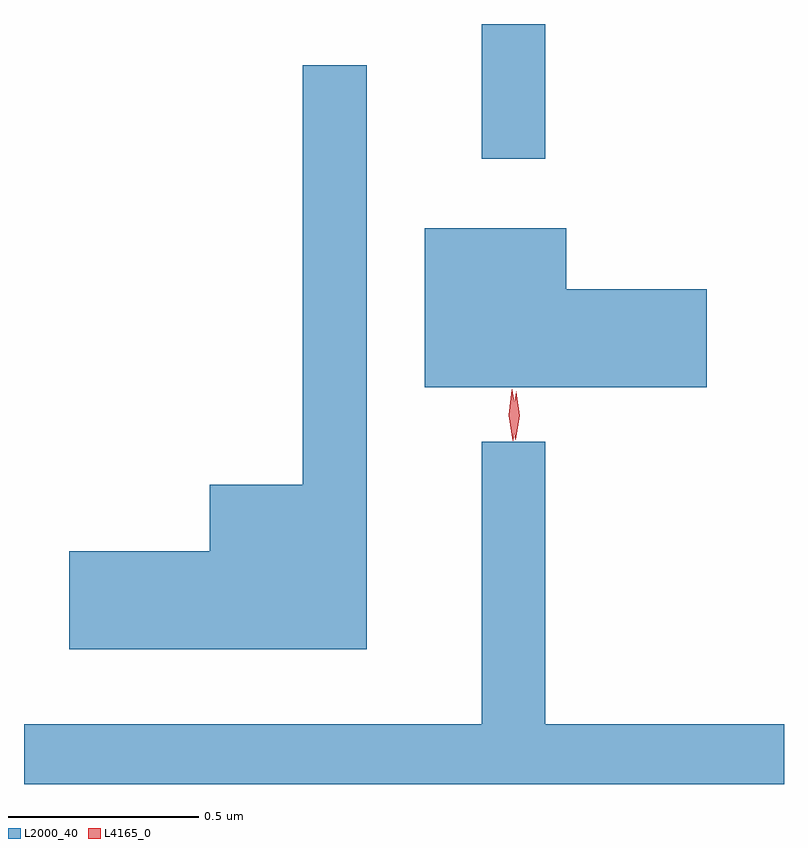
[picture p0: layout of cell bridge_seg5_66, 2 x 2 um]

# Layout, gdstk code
import gdstk
lib = gdstk.Library(unit=1e-6, precision=1e-09)
def R(c, l, rs):  # rectangles x0, y0, x1, y1
    for r in rs: c.add(gdstk.rectangle(r[:2], r[2:], *l))
def P(c, l, *ps):  # polygons
    for p in ps: c.add(gdstk.Polygon(p, *l))
L2000_40 = (2000, 40)
L4165_0 = (4165, 0)

bridge_seg5_66 = lib.new_cell('bridge_seg5_66')
R(bridge_seg5_66, L2000_40, [(1271.251,1467.433,1271.419,1467.787)])
P(bridge_seg5_66, L2000_40, [(1270.949,1467.678),(1270.781,1467.678),(1270.781,1466.574),(1270.536,1466.574),(1270.536,1466.399),(1270.166,1466.399),(1270.166,1466.141),(1270.949,1466.141)],
  [(1271.844,1467.089),(1271.474,1467.089),(1271.474,1467.249),(1271.101,1467.249),(1271.101,1466.831),(1271.844,1466.831)],
  [(1272.047,1465.944),(1271.419,1465.944),(1271.419,1466.688),(1271.251,1466.688),(1271.251,1465.944),(1270.047,1465.944),(1270.047,1465.787),(1272.047,1465.787)])
P(bridge_seg5_66, L4165_0, [(1271.341,1466.693),(1271.34,1466.694),(1271.332,1466.756),(1271.342,1466.819),(1271.343,1466.82),(1271.343,1466.819),(1271.352,1466.756),(1271.341,1466.694)],
  [(1271.333,1466.69),(1271.333,1466.69),(1271.323,1466.758),(1271.331,1466.825),(1271.332,1466.826),(1271.332,1466.825),(1271.342,1466.758),(1271.334,1466.69)])

lib.write_gds('bridge_seg5_66.gds')
